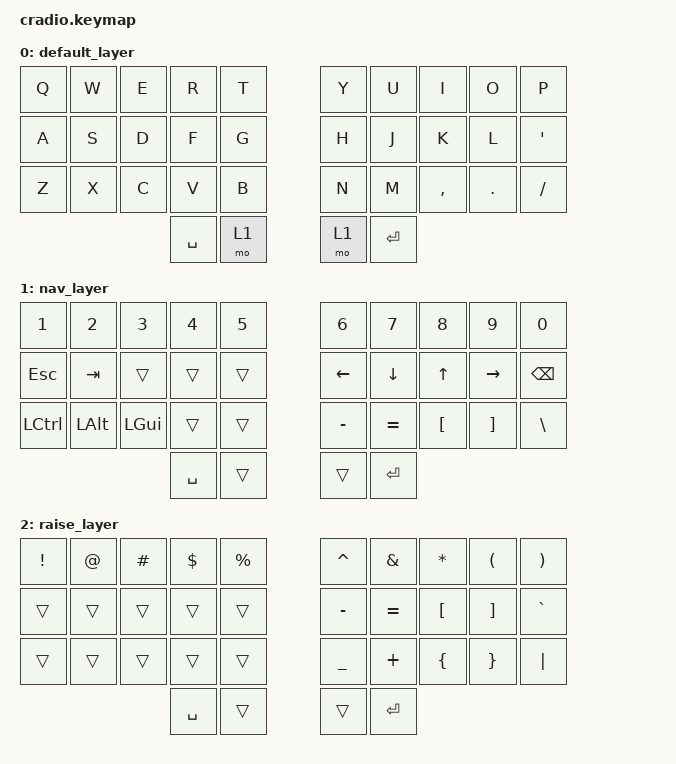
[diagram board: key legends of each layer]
/*
 * Demo Sweep / Cradio keymap sized to the contrib 34-key layout.
 * SPDX-License-Identifier: MIT
 */

#include <behaviors.dtsi>
#include <dt-bindings/zmk/keys.h>

/ {
        combos {
                compatible = "zmk,combos";
                // Gap bead: J+K on Nav (layer 1).
                combo_l1_esc {
                        bindings = <&kp ESC>;
                        key-positions = <16 17>;
                        layers = <1>;
                        timeout-ms = <50>;
                };
                // Gap bead: vertical F+V on Nav.
                combo_l1_tab {
                        bindings = <&kp TAB>;
                        key-positions = <13 23>;
                        layers = <1>;
                        timeout-ms = <50>;
                };
                // Gap bead: U+I on Raise (layer 2).
                combo_l2_esc {
                        bindings = <&kp ESC>;
                        key-positions = <6 7>;
                        layers = <2>;
                        timeout-ms = <50>;
                };
                // Anchor bead: non-adjacent S+F on Raise.
                combo_l2_caps {
                        bindings = <&kp CAPS>;
                        key-positions = <11 13>;
                        layers = <2>;
                        timeout-ms = <50>;
                };
                // Anchor bead: J+K+L triple on Raise.
                combo_l2_bspc {
                        bindings = <&kp BSPC>;
                        key-positions = <16 17 18>;
                        layers = <2>;
                        timeout-ms = <50>;
                };
        };

        keymap {
                compatible = "zmk,keymap";

                default_layer {
                        bindings = <
&kp Q &kp W &kp E &kp R &kp T        &kp Y &kp U &kp I &kp O &kp P
&kp A &kp S &kp D &kp F &kp G        &kp H &kp J &kp K &kp L &kp SQT
&kp Z &kp X &kp C &kp V &kp B        &kp N &kp M &kp COMMA &kp DOT &kp FSLH
                 &kp SPACE &mo 1          &mo 1 &kp RET
                        >;
                };

                nav_layer {
                        bindings = <
&kp N1 &kp N2 &kp N3 &kp N4 &kp N5        &kp N6 &kp N7 &kp N8 &kp N9 &kp N0
&kp ESC &kp TAB &trans &trans &trans      &kp LEFT &kp DOWN &kp UP &kp RIGHT &kp BSPC
&kp LCTRL &kp LALT &kp LGUI &trans &trans &kp MINUS &kp EQUAL &kp LBKT &kp RBKT &kp BSLH
                 &kp SPACE &trans          &trans &kp RET
                        >;
                };

                raise_layer {
                        bindings = <
&kp EXCL &kp AT &kp HASH &kp DLLR &kp PRCNT        &kp CARET &kp AMPS &kp ASTRK &kp LPAR &kp RPAR
&trans &trans &trans &trans &trans                 &kp MINUS &kp EQUAL &kp LBKT &kp RBKT &kp GRAVE
&trans &trans &trans &trans &trans                 &kp UNDER &kp PLUS &kp LBRC &kp RBRC &kp PIPE
                 &kp SPACE &trans          &trans &kp RET
                        >;
                };
        };
};
